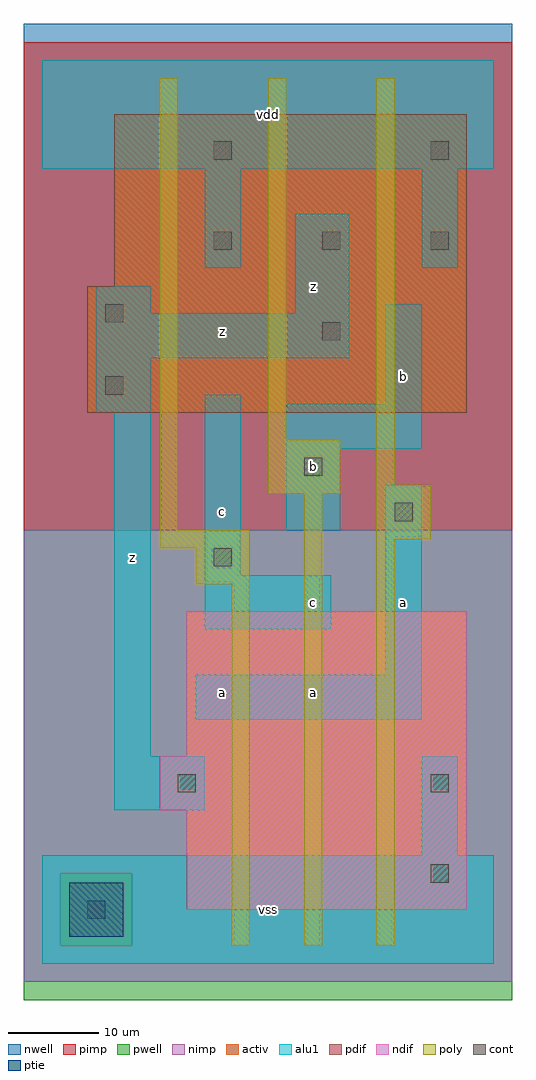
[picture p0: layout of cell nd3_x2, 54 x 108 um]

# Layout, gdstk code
import gdstk
lib = gdstk.Library(unit=1e-6, precision=1e-09)
def R(c, l, rs):  # rectangles x0, y0, x1, y1
    for r in rs: c.add(gdstk.rectangle(r[:2], r[2:], *l))
def A(c, l, x, y, w, h, nx, ny, dx, dy):  # array of equal rectangles
    R(c, l, [(x+i*dx, y+j*dy, x+i*dx+w, y+j*dy+h) for i in range(nx) for j in range(ny)])
ndif = (3, 0)
pdif = (4, 0)
ptie = (6, 0)
cont = (25, 0)
pwell = (41, 0)
nwell = (42, 0)
activ = (43, 0)
pimp = (44, 0)
nimp = (45, 0)
poly = (46, 0)
alu1 = (49, 0)

nd3_x2 = lib.new_cell('nd3_x2')
R(nd3_x2, ndif, [(16,6,47,17), (13,17,47,23), (16,23,47,39)])
R(nd3_x2, pdif, [(5,61,47,75), (8,75,47,94)])
R(nd3_x2, ptie, [(3,3,9,9)])
A(nd3_x2, cont, 19, 79, 2, 2, 3, 1, 12, 0)
R(nd3_x2, cont, [(5,5,7,7), (43,9,45,11), (15,19,17,21), (43,19,45,21), (19,44,21,46), (39,49,41,51), (29,54,31,56), (7,63,9,65), (31,69,33,71), (7,71,9,73), (19,89,21,91), (43,89,45,91)])
R(nd3_x2, pwell, [(-2,-4,52,48)])
R(nd3_x2, nwell, [(-2,48,52,104)])
R(nd3_x2, activ, [(3,3,9,9), (16,6,47,17), (13,17,47,23), (16,23,47,39), (5,61,47,75), (8,75,47,94)])
R(nd3_x2, pimp, [(2,2,10,10), (-2,48,52,102)])
R(nd3_x2, nimp, [(-2,-2,52,2), (-2,2,2,10), (10,2,52,10), (-2,10,52,48)])
R(nd3_x2, poly, [(21,2,23,42), (29,2,31,52), (37,2,39,47), (17,42,23,46), (13,46,23,48), (37,47,43,53), (13,48,15,98), (25,52,33,58), (37,53,39,98), (25,58,27,98)])
R(nd3_x2, alu1, [(0,0,50,12), (42,12,46,23), (8,17,18,23), (8,23,12,61), (17,27,42,32), (38,32,42,53), (18,37,32,43), (18,43,22,63), (27,48,33,57), (27,57,42,62), (6,61,12,67), (38,62,42,73), (6,67,34,72), (6,72,12,75), (28,72,34,83), (18,77,22,88), (42,77,46,88), (0,88,50,100)])
nd3_x2.add(gdstk.Label('z', (10,45), layer=49, texttype=0))
nd3_x2.add(gdstk.Label('a', (20,30), layer=49, texttype=0))
nd3_x2.add(gdstk.Label('c', (20,50), layer=49, texttype=0))
nd3_x2.add(gdstk.Label('z', (20,70), layer=49, texttype=0))
nd3_x2.add(gdstk.Label('vss', (25,6), layer=49, texttype=0))
nd3_x2.add(gdstk.Label('c', (30,40), layer=49, texttype=0))
nd3_x2.add(gdstk.Label('a', (30,30), layer=49, texttype=0))
nd3_x2.add(gdstk.Label('b', (30,55), layer=49, texttype=0))
nd3_x2.add(gdstk.Label('z', (30,75), layer=49, texttype=0))
nd3_x2.add(gdstk.Label('vdd', (25,94), layer=49, texttype=0))
nd3_x2.add(gdstk.Label('a', (40,40), layer=49, texttype=0))
nd3_x2.add(gdstk.Label('b', (40,65), layer=49, texttype=0))

lib.write_gds('nd3_x2.gds')
